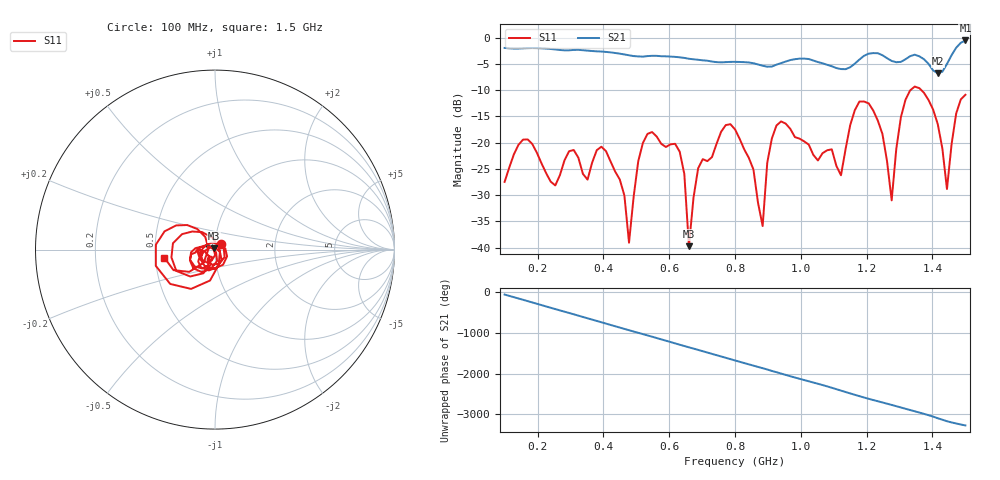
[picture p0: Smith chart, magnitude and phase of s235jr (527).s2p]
! NanoVNA-App
! Date: 2025-09-25 15:08:16
! Start: 100MHz Stop: 1,5GHz Points: 101
! S-Parameter data: F S11 S21 S12 S22
# Hz S RI R 50
!  Frequency  S11_Real  S11_Imag  S21_Real  S21_Imag  S12_Real  S12_Imag  S22_Real  S22_Imag
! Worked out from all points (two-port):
!   101 points, 100 MHz to 1.5 GHz, reference 50 ohm
!   highest |S21| = -0.54 dB at 1.5 GHz (marker M1); lowest = -6.8 dB at 1.416 GHz (marker M2)
!   |S21| within 3 dB of the highest: start of sweep to 498 MHz; 1.191 GHz to 1.253 GHz (62.15 MHz wide, 5.09 % of centre) (the widest 2 of 5)
!   lowest |S11| = -39.7 dB at 660 MHz (marker M3), VSWR 1.02, Z = 49.2 + j0.629 ohm
!   |S11| at or under -10 dB: start of sweep to 1.333 GHz; 1.366 GHz to end of sweep
!   S12 and S22 are empty: the file has one direction only
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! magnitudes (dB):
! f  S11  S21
! 100 MHz  -27.5  -2.0
! 156 MHz  -19.4  -2.0
! 338 MHz  -25.9  -2.4
! 408 MHz  -21.6  -2.7
! 478 MHz  -39.0  -3.4
! 520 MHz  -20.1  -3.6
! 576 MHz  -20.2  -3.5
! 632 MHz  -21.7  -3.7
! 660 MHz  -39.7  -4.0
! 688 MHz  -24.9  -4.2
! 800 MHz  -17.5  -4.6
! 884 MHz  -35.9  -5.4
! 898 MHz  -23.8  -5.5
! 926 MHz  -16.7  -5.1
! 1.038 GHz  -22.3  -4.4
! 1.122 GHz  -26.2  -6.0
! 1.206 GHz  -12.5  -3.1
! 1.276 GHz  -31.0  -4.4
! 1.332 GHz  -10.0  -3.5
! 1.416 GHz  -16.4  -6.8
! 1.444 GHz  -28.8  -5.0
! 1.5 GHz  -10.9  -0.5
